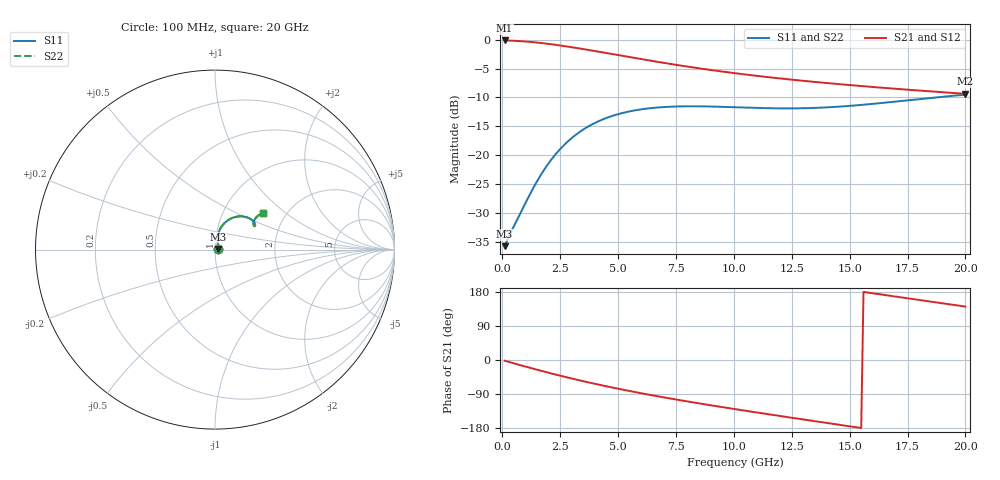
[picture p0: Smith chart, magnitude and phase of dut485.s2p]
! Touchstone file exported from HFSS 2024.1.0
!  File:  C:/UserFiles/LocalFiles/RDL_TSV_Batchsim/temp_RDL_TSV_485_1779733306.aedt
!  Generated:  02:42:08 AM May 26, 2026
!  Design:  RDL_TSV
!  Project:  temp_RDL_TSV_485_1779733306
!  Setup:  Setup1
!  Solution:  Sweep
! Variables:
!  dtsv = 6.09um
!  hbump = 3um
!  htsv = 87.26um
!  ldown = 604.5um
!  lrdl = 313.61um
!  p = 40
!  p1 = 49.14um
!  rhole = 10um
!  subl = 3067.94um
!  t = 450um
!  tdown = 4.27um
!  trdl = 3.43um
!  viad = 10um
!  wdown = 28.8um
!  wrdl = 15.08um
!  xbump = 18um
# GHz S MA R 50.000000
! Terminal data exported
! Port[1] = TM1_1_T1
! Port[2] = TM1_4_T1
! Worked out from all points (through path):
!   200 points, 100 MHz to 20 GHz, reference 50 ohm
!   highest |S21| = -0.14 dB at 100 MHz (marker M1); lowest = -9.4 dB at 20 GHz (marker M2)
!   group delay of S21, straight-line fit = 28.9 ps
!   lowest |S11| = -35.7 dB at 100 MHz (marker M3), VSWR 1.03, Z = 51.6 + j0.428 ohm
!   |S11| at or under -10 dB: start of sweep to 18.7 GHz
!   |S22| runs from -35.7 to -9.5 dB; largest |S21 - S12| = 1.4e-13
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0.1  0.01636 14.7  0.984 -1.8  0.984 -1.8  0.01636 14.7
! Gamma 0 0 0 0
! Port Impedance 50 0 50 0
0.5  0.02431 45.9  0.9776 -8.8  0.9776 -8.8  0.02431 45.9
0.9  0.03515 63.9  0.9672 -15.6  0.9672 -15.6  0.03515 64.0
1.4  0.0549 75.3  0.9483 -24.0  0.9483 -24.0  0.05491 75.3
1.9  0.07989 78.4  0.9242 -32.1  0.9242 -32.1  0.07993 78.4
2.3  0.1019 77.6  0.9021 -38.4  0.9021 -38.4  0.102 77.7
2.7  0.1244 75.3  0.8785 -44.4  0.8785 -44.4  0.1245 75.3
3.1  0.1464 72.1  0.8538 -50.3  0.8538 -50.3  0.1466 72.1
3.5  0.1671 68.4  0.8286 -56.0  0.8286 -56.0  0.1673 68.5
4.2  0.1988 61.8  0.7845 -65.5  0.7845 -65.5  0.199 61.9
4.9  0.2237 55.4  0.7415 -74.5  0.7415 -74.5  0.224 55.5
5.8  0.246 48.2  0.6897 -85.4  0.6897 -85.4  0.2464 48.2
6.8  0.2598 41.5  0.638 -96.7  0.638 -96.7  0.2602 41.6
7.6  0.2644 37.4  0.6013 -105.3  0.6013 -105.3  0.2649 37.5
8.4  0.2652 34.3  0.5686 -113.5  0.5686 -113.5  0.2656 34.3
10.1  0.26 30.8  0.511 -130.1  0.511 -130.1  0.2605 30.8
11.7  0.2548 30.9  0.4686 -145.1  0.4686 -145.1  0.2553 30.9
13.4  0.2564 33.2  0.4326 -160.6  0.4326 -160.6  0.2569 33.3
15  0.2673 36.0  0.4047 -175.0  0.4047 -175.0  0.2678 36.0
16.7  0.2874 37.9  0.3796 169.9  0.3796 169.9  0.2878 37.9
18.4  0.3118 38.2  0.3579 154.9  0.3579 154.9  0.3123 38.2
20  0.3345 37.1  0.3401 140.9  0.3401 140.9  0.3349 37.2
